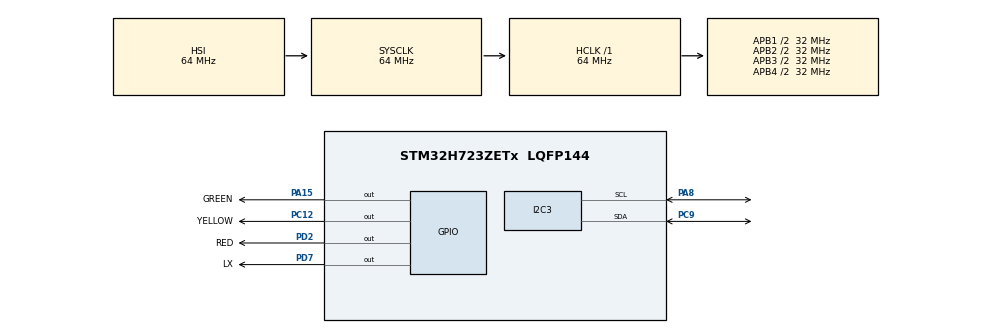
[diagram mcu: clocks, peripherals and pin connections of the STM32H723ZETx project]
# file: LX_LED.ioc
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FREERTOS.Tasks01=defaultTask,24,128,StartDefaultTask,Default,NULL,Dynamic,NULL,NULL
FREERTOS.configENABLE_FPU=1
FREERTOS.configMAX_TASK_NAME_LEN=32
I2C3.Timing=0x00707CBB
Mcu.Family=STM32H7
Mcu.Name=STM32H723ZETx
Mcu.Package=LQFP144
NVIC.PriorityGroup=NVIC_PRIORITYGROUP_4
PA15(JTDI).GPIO_Label=GREEN
PA15(JTDI).Signal=GPIO_Output
PA8.Mode=I2C
PA8.Signal=I2C3_SCL
PC12.GPIO_Label=YELLOW
PC12.Signal=GPIO_Output
PC9.Mode=I2C
PC9.Signal=I2C3_SDA
PD2.GPIO_Label=RED
PD2.Signal=GPIO_Output
PD7.GPIO_Label=LX
PD7.Signal=GPIO_Output
ProjectManager.HeapSize=0x200
ProjectManager.StackSize=0x400
ProjectManager.TargetToolchain=MDK-ARM V5.32
RCC.ADCFreq_Value=129000000
RCC.APB1Freq_Value=32000000
RCC.APB2Freq_Value=32000000
RCC.APB3Freq_Value=32000000
RCC.APB4Freq_Value=32000000
RCC.CortexFreq_Value=64000000
RCC.D1PPRE=RCC_APB3_DIV2
RCC.D2PPRE1=RCC_APB1_DIV2
RCC.D2PPRE2=RCC_APB2_DIV2
RCC.D3PPRE=RCC_APB4_DIV2
RCC.HCLKFreq_Value=64000000
RCC.SYSCLKFreq_VALUE=64000000
RCC.USBFreq_Value=129000000
VP_FREERTOS_VS_CMSIS_V2.Mode=CMSIS_V2
board=custom

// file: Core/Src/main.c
/* USER CODE BEGIN Header */
/**
  ******************************************************************************
  * @file           : main.c
  * @brief          : Main program body
  ******************************************************************************
  * @attention
  *
  * Copyright (c) 2026 STMicroelectronics.
  * All rights reserved.
  *
  * This software is licensed under terms that can be found in the LICENSE file
  * in the root directory of this software component.
  * If no LICENSE file comes with this software, it is provided AS-IS.
  *
  ******************************************************************************
  */
/* USER CODE END Header */
#include "main.h"
#include "cmsis_os.h"
#include "i2c.h"
#include "gpio.h"

/* USER CODE BEGIN Includes */
#include "BH1750.h"
/* USER CODE END Includes */

void SystemClock_Config(void);
void MX_FREERTOS_Init(void);

int main(void)
{

  /* MCU Configuration--------------------------------------------------------*/

  /* Reset of all peripherals, Initializes the Flash interface and the Systick. */
  HAL_Init();

  /* Configure the system clock */
  SystemClock_Config();

  /* Initialize all configured peripherals */
  MX_GPIO_Init();
  MX_I2C3_Init();
  /* USER CODE BEGIN 2 */
	BH1750_INIT();
  /* USER CODE END 2 */

  /* Init scheduler */
  osKernelInitialize();  /* Call init function for freertos objects (in freertos.c) */
  MX_FREERTOS_Init();
  /* Start scheduler */
  osKernelStart();

  /* We should never get here as control is now taken by the scheduler */
  /* Infinite loop */
  while (1)
  {

  }
}

void SystemClock_Config(void)
{
  RCC_OscInitTypeDef RCC_OscInitStruct = {0};
  RCC_ClkInitTypeDef RCC_ClkInitStruct = {0};

  /** Supply configuration update enable
  */
  HAL_PWREx_ConfigSupply(PWR_LDO_SUPPLY);
  /** Configure the main internal regulator output voltage
  */
  __HAL_PWR_VOLTAGESCALING_CONFIG(PWR_REGULATOR_VOLTAGE_SCALE3);

  while(!__HAL_PWR_GET_FLAG(PWR_FLAG_VOSRDY)) {}
  /** Initializes the RCC Oscillators according to the specified parameters
  * in the RCC_OscInitTypeDef structure.
  */
  RCC_OscInitStruct.OscillatorType = RCC_OSCILLATORTYPE_HSI;
  RCC_OscInitStruct.HSIState = RCC_HSI_DIV1;
  RCC_OscInitStruct.HSICalibrationValue = RCC_HSICALIBRATION_DEFAULT;
  RCC_OscInitStruct.PLL.PLLState = RCC_PLL_NONE;
  if (HAL_RCC_OscConfig(&RCC_OscInitStruct) != HAL_OK)
  {
    Error_Handler();
  }
  /** Initializes the CPU, AHB and APB buses clocks
  */
  RCC_ClkInitStruct.ClockType = RCC_CLOCKTYPE_HCLK|RCC_CLOCKTYPE_SYSCLK
                              |RCC_CLOCKTYPE_PCLK1|RCC_CLOCKTYPE_PCLK2
                              |RCC_CLOCKTYPE_D3PCLK1|RCC_CLOCKTYPE_D1PCLK1;
  RCC_ClkInitStruct.SYSCLKSource = RCC_SYSCLKSOURCE_HSI;
  RCC_ClkInitStruct.SYSCLKDivider = RCC_SYSCLK_DIV1;
  RCC_ClkInitStruct.AHBCLKDivider = RCC_HCLK_DIV1;
  RCC_ClkInitStruct.APB3CLKDivider = RCC_APB3_DIV2;
  RCC_ClkInitStruct.APB1CLKDivider = RCC_APB1_DIV2;
  RCC_ClkInitStruct.APB2CLKDivider = RCC_APB2_DIV2;
  RCC_ClkInitStruct.APB4CLKDivider = RCC_APB4_DIV2;

  if (HAL_RCC_ClockConfig(&RCC_ClkInitStruct, FLASH_LATENCY_1) != HAL_OK)
  {
    Error_Handler();
  }
}

void Error_Handler(void)
{
  __disable_irq();
  while (1)
  {
  }
}

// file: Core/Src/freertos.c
/* USER CODE BEGIN Header */
/**
  ******************************************************************************
  * File Name          : freertos.c
  * Description        : Code for freertos applications
  ******************************************************************************
  * @attention
  *
  * Copyright (c) 2026 STMicroelectronics.
  * All rights reserved.
  *
  * This software is licensed under terms that can be found in the LICENSE file
  * in the root directory of this software component.
  * If no LICENSE file comes with this software, it is provided AS-IS.
  *
  ******************************************************************************
  */
/* USER CODE END Header */

#include "FreeRTOS.h"
#include "task.h"
#include "main.h"
#include "cmsis_os.h"

/* USER CODE BEGIN Includes */
#include "BH1750.h"
/* USER CODE END Includes */

/* USER CODE BEGIN Variables */
osMessageQueueId_t myQueueHandle;
osThreadId_t       LightSensorTaskHandle;
osThreadId_t       ControlTaskHandle;
/* USER CODE END Variables */
/* Definitions for defaultTask */
osThreadId_t defaultTaskHandle;
const osThreadAttr_t defaultTask_attributes = {
  .name = "defaultTask",
  .stack_size = 128 * 4,
  .priority = (osPriority_t) osPriorityNormal,
};

/* USER CODE BEGIN FunctionPrototypes */

void LightSensorTask(void *argument)
{
    int lux = 0;
    uint16_t sendVal = 0;

    for (;;)
    {
        lux = get_lx();   // 返回 lux 值，失败返回 -1

        if (lux < 0)
        {
            // I2C 读取失败，跳过本次，避免把错误值当光照值
        }
        else
        {
            // 限幅到 uint16_t 范围，防止大数截断
            sendVal = (lux > 65535) ? 65535 : (uint16_t)lux;
            osMessageQueuePut(myQueueHandle, &sendVal, 0, 10);
        }

        osDelay(200);   // BH1750 高分辨率模式单次转换约 120ms，200ms 间隔稳妥
    }
}

#define LIGHT_THRESHOLD_LUX  50

void ControlTask(void *argument)
{
    uint16_t receivedLux = 0;

    for (;;)
    {
        if (osMessageQueueGet(myQueueHandle, &receivedLux, NULL, osWaitForever) == osOK)
        {
            if (receivedLux < LIGHT_THRESHOLD_LUX)
            {
								HAL_GPIO_WritePin(YELLOW_GPIO_Port, YELLOW_Pin, GPIO_PIN_SET);
								HAL_GPIO_WritePin(GREEN_GPIO_Port, GREEN_Pin, GPIO_PIN_SET);
								HAL_GPIO_WritePin(RED_GPIO_Port, RED_Pin, GPIO_PIN_SET);
            }
            else
            {
								HAL_GPIO_WritePin(YELLOW_GPIO_Port, YELLOW_Pin, GPIO_PIN_RESET);
								HAL_GPIO_WritePin(GREEN_GPIO_Port, GREEN_Pin, GPIO_PIN_RESET);
								HAL_GPIO_WritePin(RED_GPIO_Port, RED_Pin, GPIO_PIN_RESET);
            }
        }
    }
}
/* USER CODE END FunctionPrototypes */

void StartDefaultTask(void *argument);

void MX_FREERTOS_Init(void); /* (MISRA C 2004 rule 8.1) */

void MX_FREERTOS_Init(void) {

  /* Create the thread(s) */
  /* creation of defaultTask */
  defaultTaskHandle = osThreadNew(StartDefaultTask, NULL, &defaultTask_attributes);

  /* USER CODE BEGIN RTOS_THREADS */
  /* add threads, ... */
	myQueueHandle = osMessageQueueNew(5, sizeof(uint16_t), NULL);
    /* 创建光照采集任务：优先级 Normal */
    const osThreadAttr_t sensor_attr = {
        .name = "LightSensor",
        .stack_size = 256 * 4,
        .priority = osPriorityNormal,
    };
    LightSensorTaskHandle = osThreadNew(LightSensorTask, NULL, &sensor_attr);

    /* 创建 LED 控制任务：优先级略高，保证及时响应 */
    const osThreadAttr_t control_attr = {
        .name = "Control",
        .stack_size = 256 * 4,
        .priority = osPriorityAboveNormal,
    };
    ControlTaskHandle = osThreadNew(ControlTask, NULL, &control_attr);
  /* USER CODE END RTOS_THREADS */

}

void StartDefaultTask(void *argument)
{
  for(;;)
  {
    osDelay(1);
  }
}
